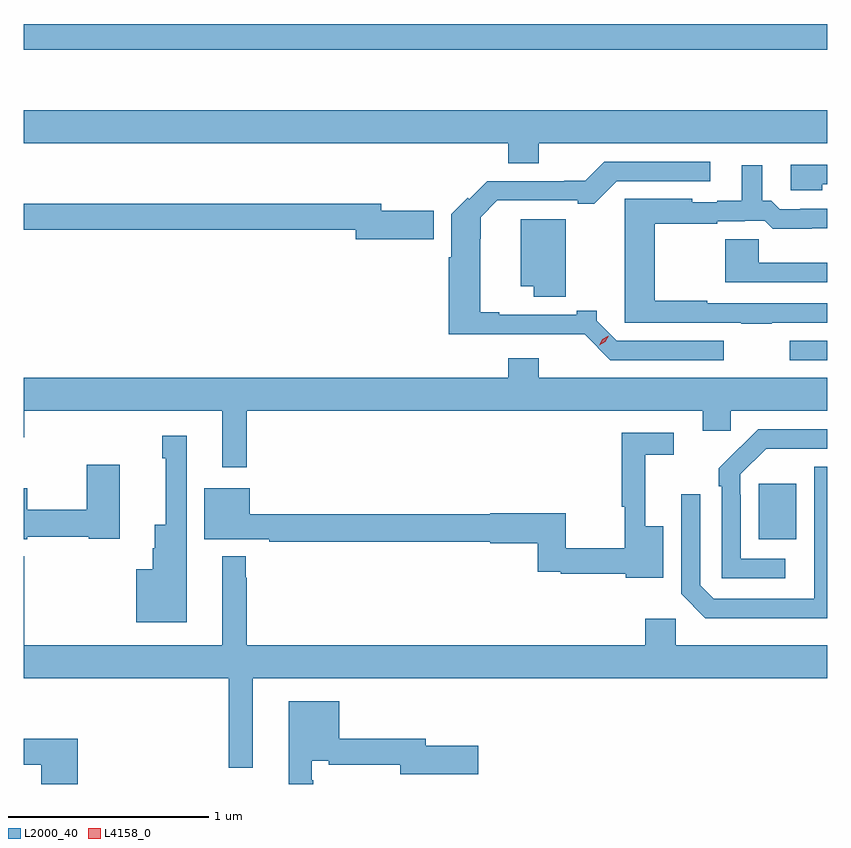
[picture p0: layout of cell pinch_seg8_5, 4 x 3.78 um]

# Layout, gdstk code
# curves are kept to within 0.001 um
import gdstk
lib = gdstk.Library(unit=1e-6, precision=1e-09)
def R(c, l, rs):  # rectangles x0, y0, x1, y1
    for r in rs: c.add(gdstk.rectangle(r[:2], r[2:], *l))
def P(c, l, *ps):  # polygons
    for p in ps: c.add(gdstk.Polygon(p, *l))
L2000_40 = (2000, 40)
L4158_0 = (4158, 0)

pinch_seg8_5 = lib.new_cell('pinch_seg8_5')
R(pinch_seg8_5, L2000_40, [(1012.949,1133.177,1013.137,1133.452), (1013.103,1134.069,1013.29,1134.165), (1009.29,1135.614,1013.29,1135.742)])
P(pinch_seg8_5, L2000_40, [(1009.29,1135.148),(1011.701,1135.148),(1011.701,1135.049),(1011.853,1135.049),(1011.853,1135.148),(1013.29,1135.148),(1013.29,1135.312),(1009.29,1135.312)],
  [(1012.774,1134.165),(1012.242,1134.165),(1012.143,1134.264),(1012.143,1134.314),(1012.043,1134.314),(1012.043,1134.294),(1011.658,1134.294),(1011.658,1134.307),(1011.562,1134.307),(1011.562,1134.674),(1011.565,1134.674),(1011.565,1134.781),(1011.648,1134.864),(1012.049,1134.864),(1012.049,1134.848),(1012.13,1134.848),(1012.242,1134.96),(1012.708,1134.96),(1012.708,1135.056),(1012.179,1135.056),(1012.085,1134.962),(1011.98,1134.962),(1011.98,1134.96),(1011.597,1134.96),(1011.507,1134.87),(1011.501,1134.876),(1011.419,1134.794),(1011.419,1134.58),(1011.407,1134.58),(1011.407,1134.198),(1012.082,1134.197),(1012.209,1134.069),(1012.774,1134.069)],
  [(1013.265,1134.945),(1013.29,1134.945),(1013.29,1135.041),(1013.109,1135.041),(1013.109,1134.914),(1013.265,1134.914)],
  [(1013.015,1134.255),(1013.29,1134.255),(1013.29,1134.351),(1012.694,1134.351),(1012.694,1134.364),(1012.431,1134.364),(1012.431,1134.747),(1012.743,1134.747),(1012.743,1134.759),(1012.88,1134.759),(1012.88,1134.762),(1012.98,1134.762),(1013.02,1134.723),(1013.213,1134.723),(1013.213,1134.725),(1013.29,1134.725),(1013.29,1134.822),(1013.155,1134.822),(1013.155,1134.819),(1013.055,1134.819),(1013.012,1134.863),(1012.966,1134.863),(1012.966,1135.039),(1012.865,1135.039),(1012.865,1134.863),(1012.743,1134.863),(1012.743,1134.855),(1012.617,1134.855),(1012.617,1134.871),(1012.283,1134.871),(1012.283,1134.255),(1012.861,1134.255),(1012.861,1134.25),(1013.015,1134.25)],
  [(1011.331,1134.813),(1011.07,1134.813),(1011.07,1134.847),(1009.29,1134.847),(1009.29,1134.718),(1010.942,1134.718),(1010.942,1134.671),(1011.331,1134.671)],
  [(1011.988,1134.769),(1011.764,1134.769),(1011.764,1134.437),(1011.83,1134.437),(1011.83,1134.384),(1011.988,1134.384)],
  [(1013.29,1134.553),(1012.949,1134.553),(1012.949,1134.67),(1012.783,1134.67),(1012.783,1134.456),(1013.29,1134.456)],
  [(1010.401,1133.816),(1012.67,1133.816),(1012.67,1133.718),(1012.809,1133.718),(1012.809,1133.816),(1013.29,1133.816),(1013.29,1133.98),(1011.853,1133.98),(1011.853,1134.079),(1011.701,1134.079),(1011.701,1133.98),(1009.29,1133.98),(1009.29,1133.684),(1009.291,1133.684),(1009.291,1133.816),(1010.279,1133.816),(1010.279,1133.535),(1010.401,1133.535)],
  [(1013.08,1133.079),(1012.86,1133.079),(1012.86,1133.399),(1012.857,1133.399),(1012.857,1133.499),(1012.986,1133.628),(1013.29,1133.628),(1013.29,1133.724),(1012.946,1133.724),(1012.749,1133.529),(1012.749,1133.441),(1012.764,1133.441),(1012.764,1132.983),(1013.08,1132.983)],
  [(1012.474,1133.242),(1012.385,1133.242),(1012.385,1133.598),(1012.525,1133.598),(1012.525,1133.706),(1012.267,1133.706),(1012.267,1133.338),(1012.282,1133.338),(1012.282,1133.132),(1011.988,1133.132),(1011.988,1133.306),(1011.612,1133.306),(1011.612,1133.3),(1010.416,1133.3),(1010.416,1133.431),(1010.189,1133.431),(1010.189,1133.177),(1010.512,1133.177),(1010.512,1133.164),(1011.612,1133.164),(1011.612,1133.156),(1011.848,1133.156),(1011.848,1133.016),(1011.964,1133.016),(1011.964,1133.004),(1012.286,1133.004),(1012.286,1132.985),(1012.474,1132.985)],
  [(1010.101,1133.692),(1009.98,1133.692),(1009.98,1133.579),(1009.997,1133.579),(1009.997,1133.248),(1009.943,1133.248),(1009.943,1133.133),(1009.931,1133.133),(1009.931,1133.026),(1009.85,1133.026),(1009.85,1132.763),(1010.101,1132.763)],
  [(1009.306,1133.188),(1009.614,1133.188),(1009.614,1133.18),(1009.768,1133.18),(1009.768,1133.548),(1009.603,1133.548),(1009.603,1133.324),(1009.306,1133.324),(1009.306,1133.431),(1009.29,1133.431),(1009.29,1133.177),(1009.306,1133.177)],
  [(1013.29,1133.538),(1013.226,1133.538),(1013.226,1133.081),(1013.225,1133.081),(1013.225,1132.881),(1012.725,1132.881),(1012.659,1132.947),(1012.659,1133.401),(1012.563,1133.401),(1012.563,1132.905),(1012.684,1132.784),(1013.29,1132.784)],
  [(1010.431,1132.484),(1013.29,1132.484),(1013.29,1132.648),(1012.536,1132.648),(1012.536,1132.78),(1012.385,1132.78),(1012.385,1132.648),(1010.401,1132.648),(1010.401,1132.985),(1010.394,1132.985),(1010.394,1133.092),(1010.279,1133.092),(1010.279,1132.648),(1009.291,1132.648),(1009.291,1133.092),(1009.29,1133.092),(1009.29,1132.484),(1010.31,1132.484),(1010.31,1132.04),(1010.431,1132.04)],
  [(1010.731,1131.977),(1010.723,1131.977),(1010.723,1132.074),(1010.809,1132.074),(1010.809,1132.054),(1011.164,1132.054),(1011.164,1132.007),(1011.553,1132.007),(1011.553,1132.149),(1011.292,1132.149),(1011.292,1132.183),(1010.86,1132.183),(1010.86,1132.369),(1010.609,1132.369),(1010.609,1131.958),(1010.731,1131.958)],
  [(1009.559,1132.183),(1009.29,1132.183),(1009.29,1132.054),(1009.376,1132.054),(1009.376,1131.958),(1009.559,1131.958)])
P(pinch_seg8_5, L4158_0, [(1012.154,1134.143),(1012.154,1134.143),(1012.171,1134.173),(1012.202,1134.19),(1012.202,1134.19),(1012.202,1134.189),(1012.185,1134.159),(1012.154,1134.143)])

lib.write_gds('pinch_seg8_5.gds')
